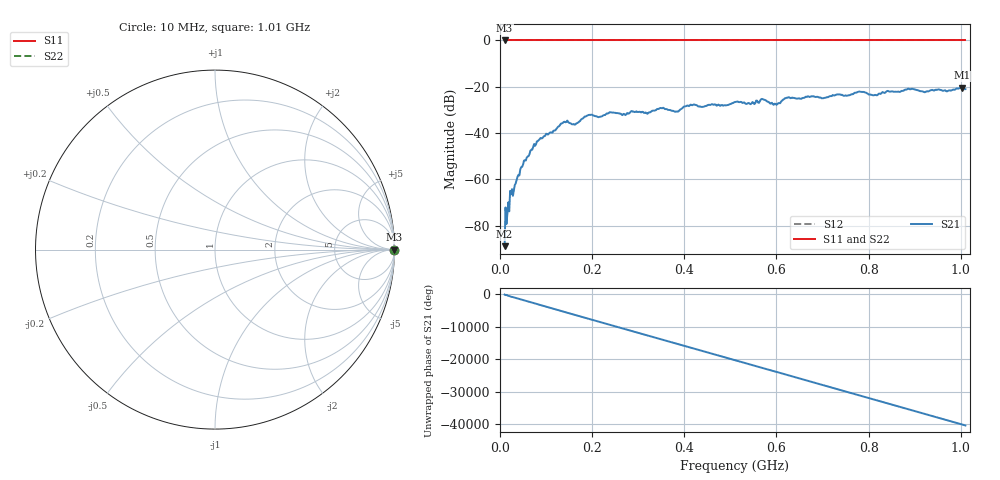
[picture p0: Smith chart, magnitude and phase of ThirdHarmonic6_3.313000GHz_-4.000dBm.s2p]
! 8/17/2025 10:21:33 AM
! C:\ANRITSUVNA\TEMP\TEMP.S2P
! CHANNEL.1
! TR.MEASUREMENT
! RAW.DATA
! RF.CORRECTION.OFF
! AVERAGING.OFF
! IF.BANDWIDTH: 5KHZ
! SWEEPTYPE:  FREQ.SWEEP(Linear)
! Reference Plane Port Info
! PORT:  PORT1  PORT2
! DISTANCE:  0  m  0  m
! TIME:  0  s  0  s
! PHASE.OFFSET:  0  deg.  0  deg.
! LOSS:  0  dB  0  dB
! REF.LOSS:  0  dB  0  dB
! REF.FREQ:  0  Hz  0  Hz
! Power Info
! POWER:  -20  dBm  -20  dBm
! EFF.POWER:  -20  dBm  -20  dBm
! SOURCE.ATTEN:  0  dB  0  dB
! TEST.ATTEN:  0  dB  0  dB
# GHZ S RI R 50.0
! FREQ.GHZ  S11RE  S11IM  S21RE  S21IM  S12RE  S12IM  S22RE  S22IM
!; PortSelection: Port_12
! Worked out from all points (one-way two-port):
!   501 points, 10 MHz to 1.01 GHz, reference 50 ohm
!   highest |S21| = -20.36 dB at 1.002 GHz (marker M1); lowest = -88.9 dB at 10 MHz (marker M2)
!   lowest |S11| = 0.0 dB at 10 MHz (marker M3)
!   |S11| at or under -10 dB: nowhere
!   |S22| runs from 0.0 to 0.0 dB; largest |S21 - S12| = 1.1
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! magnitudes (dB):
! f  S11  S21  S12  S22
! 10 MHz  0.0  -88.9  0.0  0.0
! 26 MHz  0.0  -64.2  0.0  0.0
! 48 MHz  0.0  -54.6  0.0  0.0
! 70 MHz  0.0  -47.2  0.0  0.0
! 136 MHz  0.0  -35.7  0.0  0.0
! 160 MHz  0.0  -36.1  0.0  0.0
! 178 MHz  0.0  -33.9  0.0  0.0
! 196 MHz  0.0  -32.2  0.0  0.0
! 318 MHz  0.0  -31.4  0.0  0.0
! 344 MHz  0.0  -29.6  0.0  0.0
! 384 MHz  0.0  -30.7  0.0  0.0
! 418 MHz  0.0  -28.0  0.0  0.0
! 510 MHz  0.0  -26.6  0.0  0.0
! 570 MHz  0.0  -25.3  0.0  0.0
! 598 MHz  0.0  -27.4  0.0  0.0
! 624 MHz  0.0  -24.7  0.0  0.0
! 678 MHz  0.0  -24.2  0.0  0.0
! 780 MHz  0.0  -22.1  0.0  0.0
! 814 MHz  0.0  -23.5  0.0  0.0
! 844 MHz  0.0  -22.0  0.0  0.0
! 1.002 GHz  0.0  -20.4  0.0  0.0
! 1.01 GHz  0.0  -21.0  0.0  0.0
